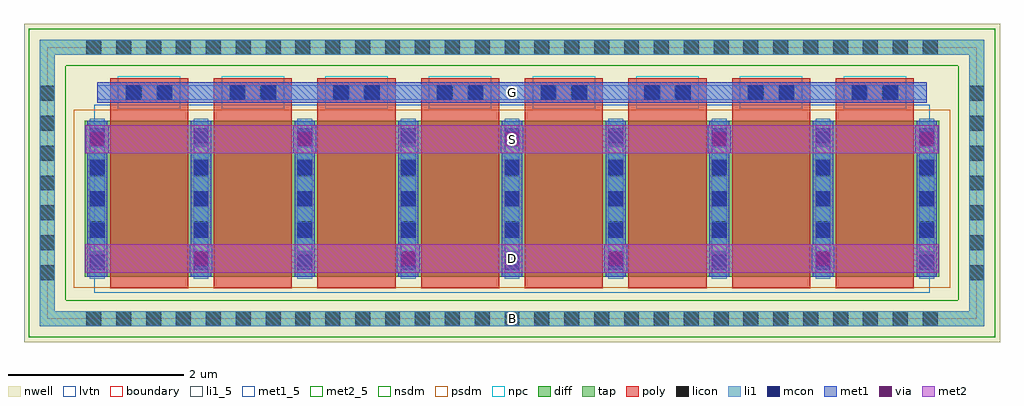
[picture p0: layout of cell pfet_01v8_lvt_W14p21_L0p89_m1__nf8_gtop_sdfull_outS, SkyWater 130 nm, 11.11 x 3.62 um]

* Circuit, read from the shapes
.subckt pfet_01v8_lvt_W14p21_L0p89_m1__nf8_gtop_sdfull_outS B D G S
XM1 D G S B sky130_fd_pr__pfet_01v8_lvt w=1.78 l=0.89 m=8
.ends

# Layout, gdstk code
import gdstk
lib = gdstk.Library(unit=1e-6, precision=1e-09)
def R(c, l, rs):  # rectangles x0, y0, x1, y1
    for r in rs: c.add(gdstk.rectangle(r[:2], r[2:], *l))
def A(c, l, x, y, w, h, nx, ny, dx, dy):  # array of equal rectangles
    R(c, l, [(x+i*dx, y+j*dy, x+i*dx+w, y+j*dy+h) for i in range(nx) for j in range(ny)])
nwell = (64, 20)
diff = (65, 20)
tap = (65, 44)
poly = (66, 20)
licon = (66, 44)
li1_5 = (67, 5)
li1 = (67, 20)
mcon = (67, 44)
met1_5 = (68, 5)
met1 = (68, 20)
via = (68, 44)
met2_5 = (69, 5)
met2 = (69, 20)
nsdm = (93, 44)
psdm = (94, 20)
npc = (95, 20)
lvtn = (125, 44)
boundary = (235, 4)

sky130_fd_pr__pfet_01v8_ = lib.new_cell('sky130_fd_pr__pfet_01v8_lvt_UL6C8A')
R(sky130_fd_pr__pfet_01v8_, nwell, [(-5.555,-1.81,5.555,1.81)])
R(sky130_fd_pr__pfet_01v8_, diff, [(-4.865,-1.07,4.865,0.71)])
R(sky130_fd_pr__pfet_01v8_, tap, [(-5.375,-1.63,5.375,-1.46), (-5.375,-1.46,-5.205,1.46), (5.205,-1.46,5.375,1.46), (-5.375,1.46,5.375,1.63)])
A(sky130_fd_pr__pfet_01v8_, poly, -4.575, -1.2, 0.89, 2.395, 8, 1, 1.18, 0)
A(sky130_fd_pr__pfet_01v8_, licon, -4.845, -1.63, 0.17, 0.17, 29, 2, 0.34, 3.09)
A(sky130_fd_pr__pfet_01v8_, licon, -5.375, -1.105, 0.17, 0.17, 1, 7, 0, 0.34)
A(sky130_fd_pr__pfet_01v8_, licon, 5.205, -1.105, 0.17, 0.17, 1, 7, 0, 0.34)
A(sky130_fd_pr__pfet_01v8_, licon, -4.805, -0.945, 0.17, 0.17, 9, 5, 1.18, 0.34)
R(sky130_fd_pr__pfet_01v8_, licon, [(-4.385,0.945,-4.215,1.115), (-4.045,0.945,-3.875,1.115), (-3.205,0.945,-3.035,1.115), (-2.865,0.945,-2.695,1.115), (-2.025,0.945,-1.855,1.115), (-1.685,0.945,-1.515,1.115), (-0.845,0.945,-0.675,1.115), (-0.505,0.945,-0.335,1.115), (0.335,0.945,0.505,1.115), (0.675,0.945,0.845,1.115), (1.515,0.945,1.685,1.115), (1.855,0.945,2.025,1.115), (2.695,0.945,2.865,1.115), (3.035,0.945,3.205,1.115), (3.875,0.945,4.045,1.115), (4.215,0.945,4.385,1.115)])
A(sky130_fd_pr__pfet_01v8_, li1, -4.805, -1.09, 0.17, 1.82, 9, 1, 1.18, 0)
R(sky130_fd_pr__pfet_01v8_, li1, [(-5.375,-1.63,5.375,-1.46), (-5.375,-1.46,-5.205,1.46), (5.205,-1.46,5.375,1.46), (-4.72,0.945,4.72,1.115), (-5.375,1.46,5.375,1.63)])
A(sky130_fd_pr__pfet_01v8_, mcon, -4.805, -0.985, 0.17, 0.17, 9, 5, 1.18, 0.36)
R(sky130_fd_pr__pfet_01v8_, mcon, [(-4.395,0.945,-4.225,1.115), (-4.035,0.945,-3.865,1.115), (-3.215,0.945,-3.045,1.115), (-2.855,0.945,-2.685,1.115), (-2.035,0.945,-1.865,1.115), (-1.675,0.945,-1.505,1.115), (-0.855,0.945,-0.685,1.115), (-0.495,0.945,-0.325,1.115), (0.325,0.945,0.495,1.115), (0.685,0.945,0.855,1.115), (1.505,0.945,1.675,1.115), (1.865,0.945,2.035,1.115), (2.685,0.945,2.855,1.115), (3.045,0.945,3.215,1.115), (3.865,0.945,4.035,1.115), (4.225,0.945,4.395,1.115)])
A(sky130_fd_pr__pfet_01v8_, met1, -4.835, -1.07, 0.23, 1.78, 9, 1, 1.18, 0)
A(sky130_fd_pr__pfet_01v8_, met1, -4.555, 0.915, 0.85, 0.03, 8, 2, 1.18, 0.2)
R(sky130_fd_pr__pfet_01v8_, met1, [(-4.72,0.945,4.72,1.115)])
R(sky130_fd_pr__pfet_01v8_, nsdm, [(-5.5,-1.755,5.5,-1.335), (-5.5,-1.335,-5.08,1.335), (5.08,-1.335,5.5,1.335), (-5.5,1.335,5.5,1.755)])
R(sky130_fd_pr__pfet_01v8_, psdm, [(-4.99,-1.195,4.99,0.835)])
A(sky130_fd_pr__pfet_01v8_, npc, -4.485, 0.845, 0.71, 0.37, 8, 1, 1.18, 0)
R(sky130_fd_pr__pfet_01v8_, lvtn, [(-4.755,-1.25,4.755,0.89)])
R(sky130_fd_pr__pfet_01v8_, boundary, [(-5.29,-1.545,5.29,1.545)])
sky130_fd_pr__pfet_01v8_.add(gdstk.Label('B', (0,-1.545), layer=67, texttype=5))
sky130_fd_pr__pfet_01v8_.add(gdstk.Label('D0', (-4.72,-0.18), layer=67, texttype=5))
sky130_fd_pr__pfet_01v8_.add(gdstk.Label('G', (4.13,1.03), layer=67, texttype=5))
sky130_fd_pr__pfet_01v8_.add(gdstk.Label('G', (2.95,1.03), layer=67, texttype=5))
sky130_fd_pr__pfet_01v8_.add(gdstk.Label('G', (1.77,1.03), layer=67, texttype=5))
sky130_fd_pr__pfet_01v8_.add(gdstk.Label('G', (0.59,1.03), layer=67, texttype=5))
sky130_fd_pr__pfet_01v8_.add(gdstk.Label('G', (-0.59,1.03), layer=67, texttype=5))
sky130_fd_pr__pfet_01v8_.add(gdstk.Label('G', (-1.77,1.03), layer=67, texttype=5))
sky130_fd_pr__pfet_01v8_.add(gdstk.Label('G', (-2.95,1.03), layer=67, texttype=5))
sky130_fd_pr__pfet_01v8_.add(gdstk.Label('G', (-4.13,1.03), layer=67, texttype=5))
sky130_fd_pr__pfet_01v8_.add(gdstk.Label('S1', (-3.54,-0.18), layer=67, texttype=5))
sky130_fd_pr__pfet_01v8_.add(gdstk.Label('D2', (-2.36,-0.18), layer=67, texttype=5))
sky130_fd_pr__pfet_01v8_.add(gdstk.Label('S3', (-1.18,-0.18), layer=67, texttype=5))
sky130_fd_pr__pfet_01v8_.add(gdstk.Label('D4', (0,-0.18), layer=67, texttype=5))
sky130_fd_pr__pfet_01v8_.add(gdstk.Label('S5', (1.18,-0.18), layer=67, texttype=5))
sky130_fd_pr__pfet_01v8_.add(gdstk.Label('D6', (2.36,-0.18), layer=67, texttype=5))
sky130_fd_pr__pfet_01v8_.add(gdstk.Label('S7', (3.54,-0.18), layer=67, texttype=5))

pfet_01v8_lvt_w14p21_l0p = lib.new_cell('pfet_01v8_lvt_W14p21_L0p89_m1__nf8_gtop_sdfull_outS')
R(pfet_01v8_lvt_w14p21_l0p, li1_5, [(5.205,-0.085,5.375,0.085)])
R(pfet_01v8_lvt_w14p21_l0p, li1, [(5.205,-0.085,5.375,0.085)])
R(pfet_01v8_lvt_w14p21_l0p, met1_5, [(0.57,2.46,10.01,2.69)])
A(pfet_01v8_lvt_w14p21_l0p, met1, 1.62, 0.525, 0.26, 0.32, 4, 1, 2.36, 0)
A(pfet_01v8_lvt_w14p21_l0p, met1, 0.44, 1.885, 0.26, 0.32, 5, 1, 2.36, 0)
R(pfet_01v8_lvt_w14p21_l0p, met1, [(0.57,2.46,10.01,2.69)])
A(pfet_01v8_lvt_w14p21_l0p, via, 1.675, 0.61, 0.15, 0.15, 4, 1, 2.36, 0)
A(pfet_01v8_lvt_w14p21_l0p, via, 0.495, 1.97, 0.15, 0.15, 5, 1, 2.36, 0)
R(pfet_01v8_lvt_w14p21_l0p, met2_5, [(0.435,0.525,10.145,0.845), (0.435,1.885,10.145,2.205)])
R(pfet_01v8_lvt_w14p21_l0p, met2, [(0.435,0.525,10.145,0.845), (0.435,1.885,10.145,2.205)])
pfet_01v8_lvt_w14p21_l0p.add(gdstk.Reference(sky130_fd_pr__pfet_01v8_, (5.29,1.545)))
pfet_01v8_lvt_w14p21_l0p.add(gdstk.Label('S', (5.29,2.045), layer=69, texttype=5))
pfet_01v8_lvt_w14p21_l0p.add(gdstk.Label('D', (5.29,0.685), layer=69, texttype=5))
pfet_01v8_lvt_w14p21_l0p.add(gdstk.Label('G', (5.29,2.575), layer=68, texttype=5))
pfet_01v8_lvt_w14p21_l0p.add(gdstk.Label('B', (5.29,0), layer=67, texttype=5))

lib.write_gds('pfet_01v8_lvt_W14p21_L0p89_m1__nf8_gtop_sdfull_outS.gds')
